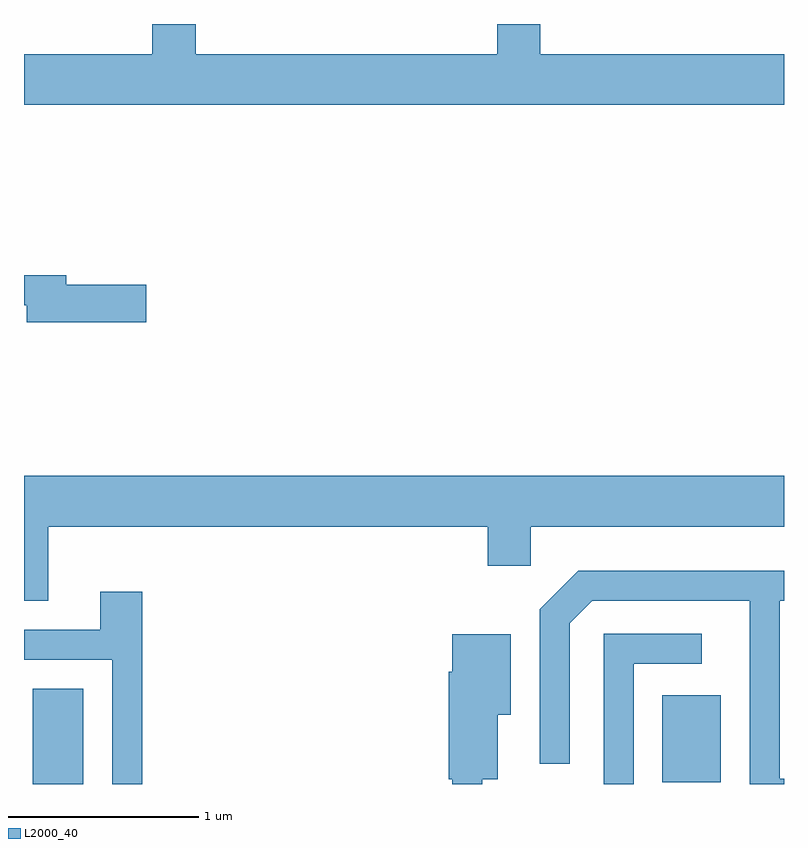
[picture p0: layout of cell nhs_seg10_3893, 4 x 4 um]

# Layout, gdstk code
import gdstk
lib = gdstk.Library(unit=1e-6, precision=1e-09)
def R(c, l, rs):  # rectangles x0, y0, x1, y1
    for r in rs: c.add(gdstk.rectangle(r[:2], r[2:], *l))
def P(c, l, *ps):  # polygons
    for p in ps: c.add(gdstk.Polygon(p, *l))
L2000_40 = (2000, 40)

nhs_seg10_3893 = lib.new_cell('nhs_seg10_3893')
R(nhs_seg10_3893, L2000_40, [(299.656,2152.522,299.924,2153.024), (302.971,2152.531,303.279,2152.989)])
P(nhs_seg10_3893, L2000_40, [(303.611,2156.364),(302.329,2156.364),(302.329,2156.522),(302.101,2156.522),(302.101,2156.364),(300.514,2156.364),(300.514,2156.522),(300.286,2156.522),(300.286,2156.364),(299.611,2156.364),(299.611,2156.096),(303.611,2156.096)],
  [(301.949,2156.522),(300.743,2156.522),(300.744,2156.521),(301.949,2156.521)],
  [(300.254,2155.149),(299.834,2155.149),(299.834,2155.199),(299.611,2155.199),(299.611,2155.041),(299.626,2155.041),(299.626,2154.951),(300.254,2154.951)],
  [(299.739,2153.876),(302.051,2153.876),(302.051,2153.671),(302.279,2153.671),(302.279,2153.876),(303.611,2153.876),(303.611,2154.144),(299.611,2154.144),(299.611,2153.486),(299.739,2153.486)],
  [(303.611,2152.549),(303.589,2152.549),(303.589,2153.486),(303.611,2153.486),(303.611,2153.644),(302.529,2153.644),(302.326,2153.442),(302.326,2152.628),(302.484,2152.628),(302.484,2153.369),(302.602,2153.486),(303.431,2153.486),(303.431,2152.522),(303.611,2152.522)],
  [(300.234,2153.534),(300.011,2153.534),(300.011,2153.334),(299.611,2153.334),(299.611,2153.176),(300.076,2153.176),(300.076,2152.522),(300.234,2152.522)],
  [(302.819,2153.156),(303.178,2153.156),(303.178,2153.314),(302.661,2153.314),(302.661,2152.522),(302.819,2152.522)],
  [(302.024,2152.546),(302.104,2152.546),(302.104,2152.886),(302.174,2152.886),(302.174,2153.309),(301.866,2153.309),(301.866,2153.114),(301.846,2153.114),(301.846,2152.546),(301.866,2152.546),(301.866,2152.522),(302.024,2152.522)])

lib.write_gds('nhs_seg10_3893.gds')
